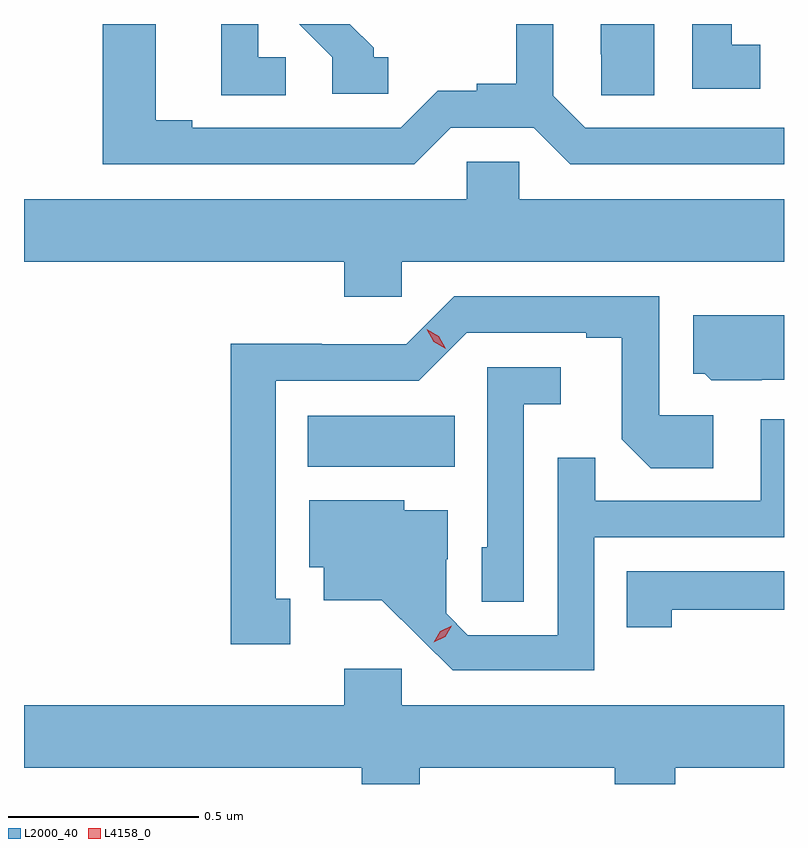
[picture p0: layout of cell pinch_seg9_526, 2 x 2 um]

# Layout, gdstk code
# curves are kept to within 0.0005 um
import gdstk
lib = gdstk.Library(unit=1e-6, precision=1e-09)
def R(c, l, rs):  # rectangles x0, y0, x1, y1
    for r in rs: c.add(gdstk.rectangle(r[:2], r[2:], *l))
def P(c, l, *ps):  # polygons
    for p in ps: c.add(gdstk.Polygon(p, *l))
L2000_40 = (2000, 40)
L4158_0 = (4158, 0)

pinch_seg9_526 = lib.new_cell('pinch_seg9_526')
R(pinch_seg9_526, L2000_40, [(277.895,1202.54,278.282,1202.674)])
P(pinch_seg9_526, L2000_40, [(277.837,1203.618),(277.764,1203.618),(277.764,1203.705),(277.667,1203.705),(277.667,1203.517),(277.837,1203.517)],
  [(279.085,1203.65),(279.01,1203.65),(279.01,1203.705),(278.906,1203.705),(278.906,1203.534),(279.085,1203.534)],
  [(278.107,1203.618),(278.068,1203.618),(278.068,1203.642),(278.005,1203.704),(278.004,1203.705),(277.872,1203.705),(277.959,1203.618),(277.959,1203.522),(278.107,1203.522)],
  [(278.806,1203.705),(278.666,1203.705),(278.666,1203.625),(278.667,1203.625),(278.667,1203.517),(278.806,1203.517)],
  [(278.271,1203.432),(278.489,1203.432),(278.585,1203.336),(279.148,1203.336),(279.148,1203.432),(278.625,1203.432),(278.541,1203.516),(278.541,1203.705),(278.444,1203.705),(278.444,1203.548),(278.34,1203.548),(278.34,1203.53),(278.237,1203.53),(278.139,1203.432),(277.591,1203.432),(277.591,1203.452),(277.495,1203.452),(277.495,1203.705),(277.355,1203.705),(277.355,1203.336),(278.175,1203.336)],
  [(278.142,1203.08),(279.148,1203.08),(279.148,1203.244),(278.451,1203.244),(278.451,1203.342),(278.313,1203.342),(278.313,1203.244),(277.148,1203.244),(277.148,1203.08),(277.991,1203.08),(277.991,1202.987),(278.142,1202.987)],
  [(277.849,1202.193),(277.81,1202.193),(277.81,1202.766),(278.187,1202.766),(278.313,1202.892),(278.627,1202.892),(278.627,1202.88),(278.721,1202.88),(278.721,1202.612),(278.797,1202.536),(278.962,1202.536),(278.962,1202.676),(278.82,1202.676),(278.82,1202.988),(278.28,1202.988),(278.154,1202.862),(277.932,1202.862),(277.932,1202.864),(277.692,1202.864),(277.692,1202.073),(277.849,1202.073)],
  [(279.09,1202.769),(279.148,1202.769),(279.148,1202.938),(278.909,1202.938),(278.909,1202.784),(278.94,1202.784),(278.956,1202.768),(279.09,1202.768)],
  [(278.463,1202.705),(278.56,1202.705),(278.56,1202.802),(278.367,1202.802),(278.367,1202.328),(278.352,1202.328),(278.352,1202.185),(278.463,1202.185)],
  [(278.649,1202.355),(279.148,1202.355),(279.148,1202.665),(279.087,1202.665),(279.087,1202.451),(278.651,1202.451),(278.651,1202.564),(278.553,1202.564),(278.553,1202.097),(278.316,1202.097),(278.259,1202.154),(278.259,1202.296),(278.263,1202.296),(278.263,1202.425),(278.148,1202.425),(278.148,1202.452),(277.898,1202.452),(277.898,1202.276),(277.937,1202.276),(277.937,1202.189),(278.089,1202.189),(278.276,1202.004),(278.649,1202.004)],
  [(278.853,1202.164),(279.148,1202.164),(279.148,1202.265),(278.734,1202.265),(278.734,1202.118),(278.853,1202.118)],
  [(278.189,1201.748),(278.702,1201.748),(278.702,1201.705),(278.862,1201.705),(278.862,1201.748),(279.148,1201.748),(279.148,1201.912),(278.142,1201.912),(278.142,1202.008),(277.991,1202.008),(277.991,1201.912),(277.148,1201.912),(277.148,1201.748),(278.037,1201.748),(278.037,1201.705),(278.189,1201.705)])
P(pinch_seg9_526, L4158_0, [(278.226,1202.078),(278.226,1202.078),(278.243,1202.107),(278.274,1202.122),(278.274,1202.122),(278.274,1202.122),(278.257,1202.092),(278.226,1202.078)],
  [(278.258,1202.85),(278.226,1202.869),(278.208,1202.902),(278.208,1202.902),(278.208,1202.902),(278.24,1202.883),(278.258,1202.85),(278.258,1202.85)])

lib.write_gds('pinch_seg9_526.gds')
